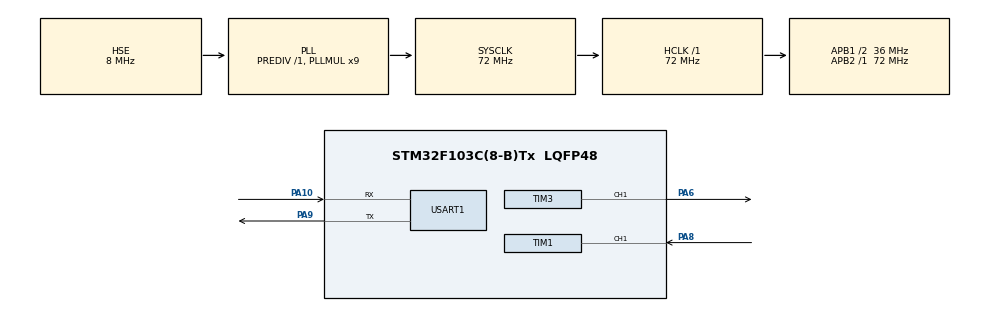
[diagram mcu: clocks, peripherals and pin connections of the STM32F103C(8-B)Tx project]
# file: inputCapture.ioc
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Mcu.Family=STM32F1
Mcu.Name=STM32F103C(8-B)Tx
Mcu.Package=LQFP48
NVIC.PriorityGroup=NVIC_PRIORITYGROUP_4
NVIC.TIM1_CC_IRQn=true\:0\:0\:true\:false\:true\:true\:true\:true
NVIC.TIM1_UP_IRQn=true\:1\:0\:true\:false\:true\:true\:true\:true
PA10.Mode=Asynchronous
PA10.Signal=USART1_RX
PA13.Mode=Serial_Wire
PA13.Signal=SYS_JTMS-SWDIO
PA14.Mode=Serial_Wire
PA14.Signal=SYS_JTCK-SWCLK
PA6.Signal=S_TIM3_CH1
PA8.Signal=S_TIM1_CH1
PA9.Mode=Asynchronous
PA9.Signal=USART1_TX
PD0-OSC_IN.Mode=HSE-External-Oscillator
PD0-OSC_IN.Signal=RCC_OSC_IN
PD1-OSC_OUT.Mode=HSE-External-Oscillator
PD1-OSC_OUT.Signal=RCC_OSC_OUT
ProjectManager.HeapSize=0x200
ProjectManager.StackSize=0x400
ProjectManager.TargetToolchain=MDK-ARM V5
RCC.AHBFreq_Value=72000000
RCC.APB1CLKDivider=RCC_HCLK_DIV2
RCC.APB1Freq_Value=36000000
RCC.APB1TimFreq_Value=72000000
RCC.APB2Freq_Value=72000000
RCC.APB2TimFreq_Value=72000000
RCC.HCLKFreq_Value=72000000
RCC.PLLMUL=RCC_PLL_MUL9
RCC.PLLSourceVirtual=RCC_PLLSOURCE_HSE
RCC.SYSCLKFreq_VALUE=72000000
RCC.SYSCLKSource=RCC_SYSCLKSOURCE_PLLCLK
RCC.USBFreq_Value=72000000
SH.S_TIM1_CH1.0=TIM1_CH1,Input_Capture1_from_TI1
SH.S_TIM1_CH1.1=TIM1_CH1,TriggerSource_TI1FP1
SH.S_TIM3_CH1.0=TIM3_CH1,PWM Generation1 CH1
TIM1.AutoReloadPreload=TIM_AUTORELOAD_PRELOAD_ENABLE
TIM1.Channel-Input_Capture1_from_TI1=TIM_CHANNEL_1
TIM1.Channel-Input_Capture2_from_TI1_63=TIM_CHANNEL_2
TIM1.ICPolarity_CH2=TIM_INPUTCHANNELPOLARITY_FALLING
TIM1.Prescaler=35
TIM3.AutoReloadPreload=TIM_AUTORELOAD_PRELOAD_ENABLE
TIM3.Channel-PWM\ Generation1\ CH1=TIM_CHANNEL_1
TIM3.Period=999
TIM3.Prescaler=35
TIM3.Pulse-PWM\ Generation1\ CH1=800
USART1.VirtualMode=VM_ASYNC
VP_TIM1_VS_ClockSourceINT.Mode=Internal
VP_TIM1_VS_ControllerModeReset.Mode=Reset Mode
VP_TIM1_VS_indirect_ch1.Mode=Input_Capture2_from_TI1_63
VP_TIM3_VS_ClockSourceINT.Mode=Internal
board=custom

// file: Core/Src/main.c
/* USER CODE BEGIN Header */
/**
  ******************************************************************************
  * @file           : main.c
  * @brief          : Main program body
  ******************************************************************************
  * @attention
  *
  * Copyright (c) 2025 STMicroelectronics.
  * All rights reserved.
  *
  * This software is licensed under terms that can be found in the LICENSE file
  * in the root directory of this software component.
  * If no LICENSE file comes with this software, it is provided AS-IS.
  *
  ******************************************************************************
  */
/* USER CODE END Header */
#include "main.h"
#include "tim.h"
#include "usart.h"
#include "gpio.h"

/* USER CODE BEGIN Includes */
#include "pwmCapture.h"
#include "PID.h"
/* USER CODE END Includes */

/* USER CODE BEGIN PV */
pwm_Capture_Handle_t pwm_Capture = NULL;
PIDController_Handle_t pidHandle = NULL;
uint8_t flag = 0;
float pidOut = 0;
float pidInput = 0;
float pidSetPoint = 0;
/* USER CODE END PV */

void SystemClock_Config(void);

int main(void)
{

  /* MCU Configuration--------------------------------------------------------*/

  /* Reset of all peripherals, Initializes the Flash interface and the Systick. */
  HAL_Init();

  /* Configure the system clock */
  SystemClock_Config();

  /* Initialize all configured peripherals */
  MX_GPIO_Init();
  MX_TIM1_Init();
  MX_TIM3_Init();
  MX_USART1_UART_Init();
  /* USER CODE BEGIN 2 */
 HAL_TIM_PWM_Start(&htim3,TIM_CHANNEL_1);
 pwm_Capture_conf_t conf = {
	 .htim = &htim1,
	 .RiseChannel = TIM_CHANNEL_1,
	 .FallChannel = TIM_CHANNEL_2,
 };
 pwmCapture_Init(&pwm_Capture,&conf);
 PIDController_Conf_t pid_conf = {
  .kp = 4.65,
  .ki = 0.01,
  .kd = 0.00,
  .limMax = 100.00,
  .limMin = 0,
  .limMaxInt = 10,
  .limMinInt = -5.00,
  .tau = 3,
  .T = 50,
 };
 PIDController_Init(&pidHandle,&pid_conf);
  /* USER CODE END 2 */

  /* Infinite loop */
  /* USER CODE BEGIN WHILE */
  while (1)
  {
     __NOP();
	  pidOut = PIDController_Update(&pidHandle,pidSetPoint,pidInput);
	  if(pwmCapture_getComplete(&pwm_Capture) == true)
	  {
	   pidInput = pwmCapture_getDuty(pwm_Capture);
	   pwmCapture_Stop(&pwm_Capture);
	  }

    /* USER CODE END WHILE */

  }
}

void SystemClock_Config(void)
{
  RCC_OscInitTypeDef RCC_OscInitStruct = {0};
  RCC_ClkInitTypeDef RCC_ClkInitStruct = {0};

  /** Initializes the RCC Oscillators according to the specified parameters
  * in the RCC_OscInitTypeDef structure.
  */
  RCC_OscInitStruct.OscillatorType = RCC_OSCILLATORTYPE_HSE;
  RCC_OscInitStruct.HSEState = RCC_HSE_ON;
  RCC_OscInitStruct.HSEPredivValue = RCC_HSE_PREDIV_DIV1;
  RCC_OscInitStruct.HSIState = RCC_HSI_ON;
  RCC_OscInitStruct.PLL.PLLState = RCC_PLL_ON;
  RCC_OscInitStruct.PLL.PLLSource = RCC_PLLSOURCE_HSE;
  RCC_OscInitStruct.PLL.PLLMUL = RCC_PLL_MUL9;
  if (HAL_RCC_OscConfig(&RCC_OscInitStruct) != HAL_OK)
  {
    Error_Handler();
  }

  /** Initializes the CPU, AHB and APB buses clocks
  */
  RCC_ClkInitStruct.ClockType = RCC_CLOCKTYPE_HCLK|RCC_CLOCKTYPE_SYSCLK
                              |RCC_CLOCKTYPE_PCLK1|RCC_CLOCKTYPE_PCLK2;
  RCC_ClkInitStruct.SYSCLKSource = RCC_SYSCLKSOURCE_PLLCLK;
  RCC_ClkInitStruct.AHBCLKDivider = RCC_SYSCLK_DIV1;
  RCC_ClkInitStruct.APB1CLKDivider = RCC_HCLK_DIV2;
  RCC_ClkInitStruct.APB2CLKDivider = RCC_HCLK_DIV1;

  if (HAL_RCC_ClockConfig(&RCC_ClkInitStruct, FLASH_LATENCY_2) != HAL_OK)
  {
    Error_Handler();
  }
}

void Error_Handler(void)
{
  __disable_irq();
  while (1)
  {
  }
}
